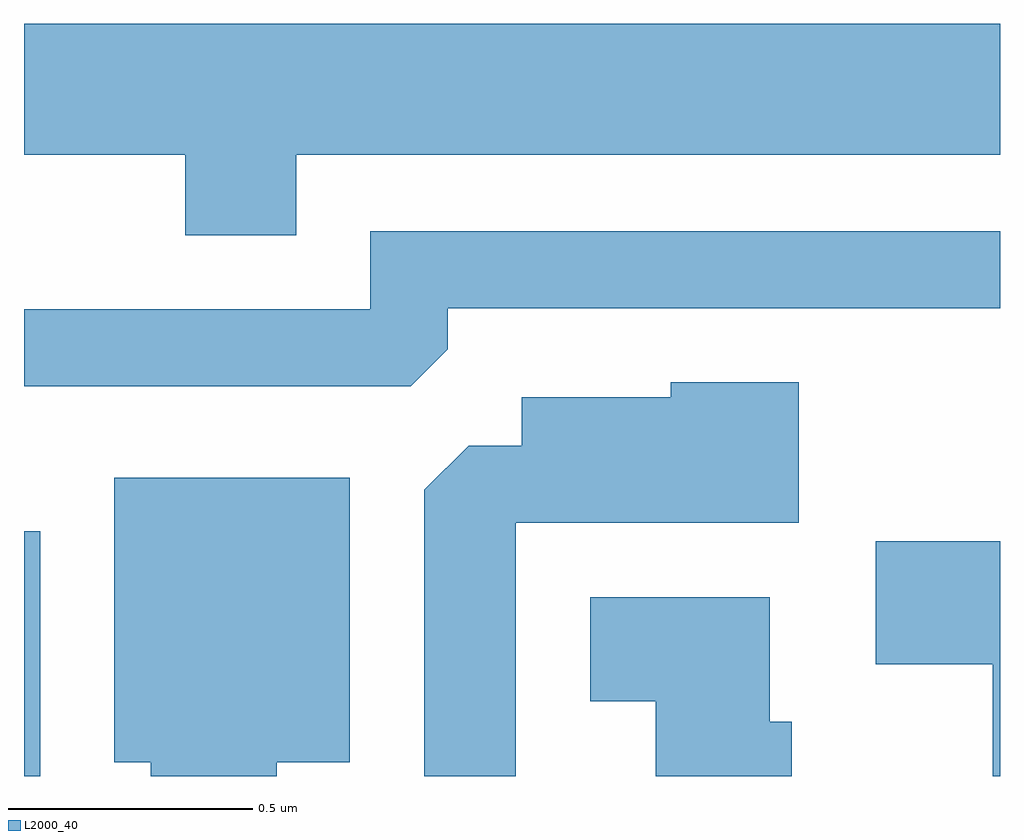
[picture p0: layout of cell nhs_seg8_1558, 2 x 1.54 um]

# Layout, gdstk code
import gdstk
lib = gdstk.Library(unit=1e-6, precision=1e-09)
def R(c, l, rs):  # rectangles x0, y0, x1, y1
    for r in rs: c.add(gdstk.rectangle(r[:2], r[2:], *l))
def P(c, l, *ps):  # polygons
    for p in ps: c.add(gdstk.Polygon(p, *l))
L2000_40 = (2000, 40)

nhs_seg8_1558 = lib.new_cell('nhs_seg8_1558')
R(nhs_seg8_1558, L2000_40, [(196.611,1857.342,196.644,1857.844)])
P(nhs_seg8_1558, L2000_40, [(197.169,1858.616),(198.611,1858.616),(198.611,1858.884),(196.611,1858.884),(196.611,1858.616),(196.941,1858.616),(196.941,1858.451),(197.169,1858.451)],
  [(197.479,1858.217),(197.479,1858.301),(198.611,1858.301),(198.611,1858.459),(197.321,1858.459),(197.321,1858.299),(196.611,1858.299),(196.611,1858.141),(197.404,1858.141)],
  [(197.619,1857.861),(198.199,1857.861),(198.199,1858.149),(197.936,1858.149),(197.936,1858.119),(197.631,1858.119),(197.631,1858.019),(197.522,1858.019),(197.431,1857.929),(197.431,1857.342),(197.619,1857.342)],
  [(197.129,1857.371),(197.279,1857.371),(197.279,1857.954),(196.796,1857.954),(196.796,1857.371),(196.871,1857.371),(196.871,1857.342),(197.129,1857.342)],
  [(198.611,1857.824),(198.356,1857.824),(198.356,1857.571),(198.596,1857.571),(198.596,1857.342),(198.611,1857.342)],
  [(198.184,1857.454),(198.139,1857.454),(198.139,1857.709),(197.771,1857.709),(197.771,1857.496),(197.906,1857.496),(197.906,1857.342),(198.184,1857.342)])

lib.write_gds('nhs_seg8_1558.gds')
